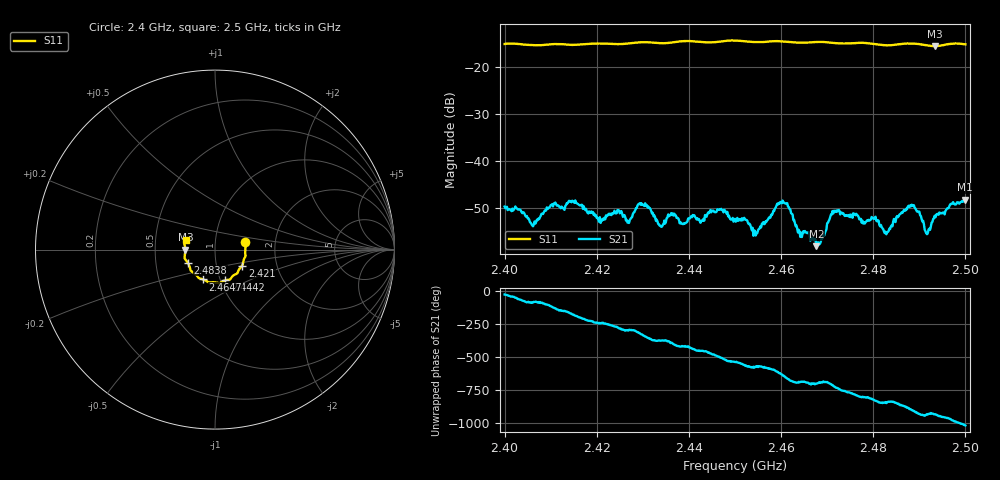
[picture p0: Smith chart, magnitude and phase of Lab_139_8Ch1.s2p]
# Hz S RI R 50
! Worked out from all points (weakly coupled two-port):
!   601 points, 2.4 GHz to 2.5 GHz, reference 50 ohm
!   highest |S21| = -48.20 dB at 2.4998 GHz (marker M1); lowest = -58.0 dB at 2.4677 GHz (marker M2)
!   lowest |S11| = -15.6 dB at 2.4933 GHz (marker M3), VSWR 1.40, Z = 35.8 + j0.0221 ohm
!   |S11| at or under -10 dB: start of sweep to end of sweep
!   S12 and S22 are empty: the file has one direction only
!   S11 on the Smith chart (normalised r, x): 2.4 GHz: 1.40, +0.12; 2.421 GHz: 1.33, -0.24; 2.4442 GHz: 1.05, -0.37; 2.4647 GHz: 0.83, -0.29; 2.4838 GHz: 0.73, -0.11; 2.5 GHz: 0.71, +0.08
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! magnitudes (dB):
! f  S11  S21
! 2.4 GHz  -15.2  -49.6
! 2.4062 GHz  -15.5  -53.8
! 2.4105 GHz  -15.2  -49.6
! 2.4167 GHz  -15.3  -49.2
! 2.421 GHz  -15.1  -52.4
! 2.4295 GHz  -14.8  -49.2
! 2.4333 GHz  -15.0  -53.3
! 2.4442 GHz  -14.9  -50.9
! 2.45 GHz  -14.5  -52.2
! 2.4545 GHz  -14.8  -55.7
! 2.4603 GHz  -14.6  -48.4
! 2.4647 GHz  -14.9  -55.4
! 2.4667 GHz  -14.8  -56.6
! 2.4677 GHz  -14.8  -58.0
! 2.472 GHz  -15.0  -50.5
! 2.4833 GHz  -15.5  -54.8
! 2.4838 GHz  -15.5  -53.8
! 2.488 GHz  -15.1  -49.4
! 2.4917 GHz  -15.5  -55.5
! 2.4933 GHz  -15.6  -51.6
! 2.4998 GHz  -15.2  -48.2
! 2.5 GHz  -15.3  -48.4
